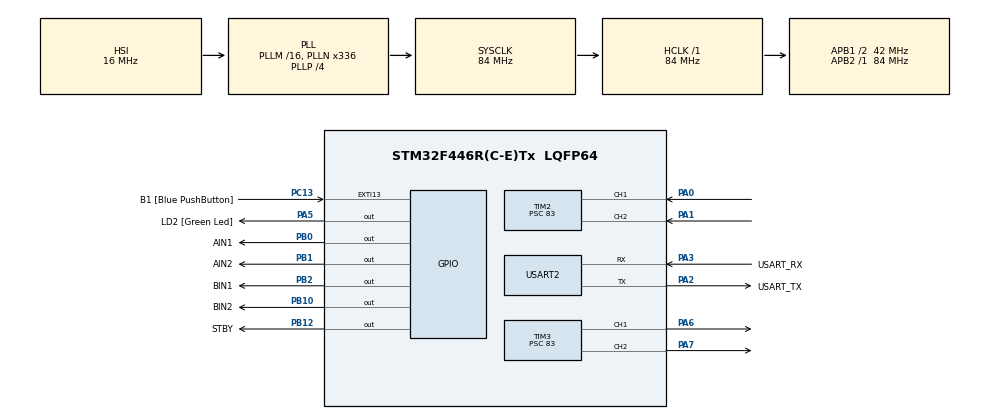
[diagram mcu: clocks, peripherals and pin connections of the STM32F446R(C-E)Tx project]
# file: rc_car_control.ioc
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Mcu.Family=STM32F4
Mcu.Name=STM32F446R(C-E)Tx
Mcu.Package=LQFP64
NVIC.PriorityGroup=NVIC_PRIORITYGROUP_0
NVIC.TIM2_IRQn=true\:0\:0\:false\:false\:true\:true\:true\:true
PA0-WKUP.Signal=S_TIM2_CH1_ETR
PA1.Signal=S_TIM2_CH2
PA13.GPIO_Label=TMS
PA13.Mode=Serial_Wire
PA13.Signal=SYS_JTMS-SWDIO
PA14.GPIO_Label=TCK
PA14.Mode=Serial_Wire
PA14.Signal=SYS_JTCK-SWCLK
PA2.GPIO_Label=USART_TX
PA2.Mode=Asynchronous
PA2.Signal=USART2_TX
PA3.GPIO_Label=USART_RX
PA3.Mode=Asynchronous
PA3.Signal=USART2_RX
PA5.GPIO_Label=LD2 [Green Led]
PA5.Signal=GPIO_Output
PA6.Signal=S_TIM3_CH1
PA7.Signal=S_TIM3_CH2
PB0.GPIO_Label=AIN1
PB0.Signal=GPIO_Output
PB1.GPIO_Label=AIN2
PB1.Signal=GPIO_Output
PB10.GPIO_Label=BIN2
PB10.Signal=GPIO_Output
PB12.GPIO_Label=STBY
PB12.Signal=GPIO_Output
PB2.GPIO_Label=BIN1
PB2.Signal=GPIO_Output
PB3.GPIO_Label=SWO
PB3.Signal=SYS_JTDO-SWO
PC13.GPIO_Label=B1 [Blue PushButton]
PC13.GPIO_ModeDefaultEXTI=GPIO_MODE_IT_FALLING
PC13.Signal=GPXTI13
PC14-OSC32_IN.Mode=LSE-External-Oscillator
PC14-OSC32_IN.Signal=RCC_OSC32_IN
PC15-OSC32_OUT.Mode=LSE-External-Oscillator
PC15-OSC32_OUT.Signal=RCC_OSC32_OUT
PH0-OSC_IN.Mode=HSE-External-Oscillator
PH0-OSC_IN.Signal=RCC_OSC_IN
PH1-OSC_OUT.Mode=HSE-External-Oscillator
PH1-OSC_OUT.Signal=RCC_OSC_OUT
ProjectManager.HeapSize=0x200
ProjectManager.StackSize=0x400
ProjectManager.TargetToolchain=STM32CubeIDE
RCC.48MHZClocksFreq_Value=84000000
RCC.AHBFreq_Value=84000000
RCC.APB1CLKDivider=RCC_HCLK_DIV2
RCC.APB1Freq_Value=42000000
RCC.APB1TimFreq_Value=84000000
RCC.APB2Freq_Value=84000000
RCC.APB2TimFreq_Value=84000000
RCC.CortexFreq_Value=84000000
RCC.FLatency-AdvancedSettings=FLASH_LATENCY_2
RCC.HCLKFreq_Value=84000000
RCC.HSE_VALUE=8000000
RCC.HSI_VALUE=16000000
RCC.PLLN=336
RCC.PLLP=RCC_PLLP_DIV4
RCC.SYSCLKFreq_VALUE=84000000
RCC.SYSCLKSource=RCC_SYSCLKSOURCE_PLLCLK
RCC.USBFreq_Value=168000000
RCC.VCOOutputFreq_Value=336000000
SH.S_TIM2_CH1_ETR.0=TIM2_CH1,Input_Capture1_from_TI1
SH.S_TIM2_CH2.0=TIM2_CH2,Input_Capture2_from_TI2
SH.S_TIM3_CH1.0=TIM3_CH1,PWM Generation1 CH1
SH.S_TIM3_CH2.0=TIM3_CH2,PWM Generation2 CH2
TIM2.Channel-Input_Capture1_from_TI1=TIM_CHANNEL_1
TIM2.Channel-Input_Capture2_from_TI2=TIM_CHANNEL_2
TIM2.Period=65535
TIM2.Prescaler=83
TIM3.Channel-PWM\ Generation1\ CH1=TIM_CHANNEL_1
TIM3.Channel-PWM\ Generation2\ CH2=TIM_CHANNEL_2
TIM3.Period=100
TIM3.Prescaler=83
USART2.VirtualMode=VM_ASYNC
VP_TIM2_VS_ClockSourceINT.Mode=Internal
VP_TIM3_VS_ClockSourceINT.Mode=Internal
board=NUCLEO-F446RE

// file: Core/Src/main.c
/* USER CODE BEGIN Header */
/**
  ******************************************************************************
  * @file           : main.c
  * @brief          : Main program body
  ******************************************************************************
  * @attention
  *
  * Copyright (c) 2026 STMicroelectronics.
  * All rights reserved.
  *
  * This software is licensed under terms that can be found in the LICENSE file
  * in the root directory of this software component.
  * If no LICENSE file comes with this software, it is provided AS-IS.
  *
  ******************************************************************************
  */
/* USER CODE END Header */
#include "main.h"

/* USER CODE BEGIN Includes */
#include <stdio.h>
#include <stdlib.h>
/* USER CODE END Includes */

TIM_HandleTypeDef htim2;
TIM_HandleTypeDef htim3;

UART_HandleTypeDef huart2;

/* USER CODE BEGIN PV */
volatile uint32_t ch1_rise = 0;
volatile uint32_t ch2_rise = 0;

volatile uint16_t ch1_us = 1500;   // steering
volatile uint16_t ch2_us = 1500;   // throttle

volatile uint8_t ch1_wait_falling = 0;
volatile uint8_t ch2_wait_falling = 0;
/* USER CODE END PV */

void SystemClock_Config(void);
static void MX_GPIO_Init(void);
static void MX_USART2_UART_Init(void);
static void MX_TIM2_Init(void);
static void MX_TIM3_Init(void);
/* USER CODE BEGIN PFP */
int __io_putchar(int ch);
int clamp_cmd(int x);
int map_pulse_to_cmd(uint16_t us);
void motor_left_set(int cmd);
void motor_right_set(int cmd);
/* USER CODE END PFP */

/* USER CODE BEGIN 0 */
int __io_putchar(int ch)
{
  HAL_UART_Transmit(&huart2, (uint8_t *)&ch, 1, HAL_MAX_DELAY);
  return ch;
}

int clamp_cmd(int x)
{
  if (x > 100) return 100;
  if (x < -100) return -100;
  return x;
}

int map_pulse_to_cmd(uint16_t us)
{
  int val = ((int)us - 1500) / 5;   // roughly -100 to +100

  if (abs(val) < 5) {
    val = 0;   // deadband
  }

  return clamp_cmd(val);
}

void motor_left_set(int cmd)
{
  int pwm = abs(cmd);
  if (pwm > 100) pwm = 100;

  if (cmd > 0) {
    HAL_GPIO_WritePin(AIN1_GPIO_Port, AIN1_Pin, GPIO_PIN_SET);
    HAL_GPIO_WritePin(AIN2_GPIO_Port, AIN2_Pin, GPIO_PIN_RESET);
  } else if (cmd < 0) {
    HAL_GPIO_WritePin(AIN1_GPIO_Port, AIN1_Pin, GPIO_PIN_RESET);
    HAL_GPIO_WritePin(AIN2_GPIO_Port, AIN2_Pin, GPIO_PIN_SET);
  } else {
    HAL_GPIO_WritePin(AIN1_GPIO_Port, AIN1_Pin, GPIO_PIN_RESET);
    HAL_GPIO_WritePin(AIN2_GPIO_Port, AIN2_Pin, GPIO_PIN_RESET);
  }

  __HAL_TIM_SET_COMPARE(&htim3, TIM_CHANNEL_1, pwm);
}

void motor_right_set(int cmd)
{
  int pwm = abs(cmd);
  if (pwm > 100) pwm = 100;

  if (cmd > 0) {
    HAL_GPIO_WritePin(BIN1_GPIO_Port, BIN1_Pin, GPIO_PIN_SET);
    HAL_GPIO_WritePin(BIN2_GPIO_Port, BIN2_Pin, GPIO_PIN_RESET);
  } else if (cmd < 0) {
    HAL_GPIO_WritePin(BIN1_GPIO_Port, BIN1_Pin, GPIO_PIN_RESET);
    HAL_GPIO_WritePin(BIN2_GPIO_Port, BIN2_Pin, GPIO_PIN_SET);
  } else {
    HAL_GPIO_WritePin(BIN1_GPIO_Port, BIN1_Pin, GPIO_PIN_RESET);
    HAL_GPIO_WritePin(BIN2_GPIO_Port, BIN2_Pin, GPIO_PIN_RESET);
  }

  __HAL_TIM_SET_COMPARE(&htim3, TIM_CHANNEL_2, pwm);
}
/* USER CODE END 0 */

int main(void)
{

  /* MCU Configuration--------------------------------------------------------*/

  /* Reset of all peripherals, Initializes the Flash interface and the Systick. */
  HAL_Init();

  /* Configure the system clock */
  SystemClock_Config();

  /* Initialize all configured peripherals */
  MX_GPIO_Init();
  MX_USART2_UART_Init();
  MX_TIM2_Init();
  MX_TIM3_Init();

  /* USER CODE BEGIN 2 */
  HAL_TIM_IC_Start_IT(&htim2, TIM_CHANNEL_1);
  HAL_TIM_IC_Start_IT(&htim2, TIM_CHANNEL_2);

  HAL_TIM_PWM_Start(&htim3, TIM_CHANNEL_1);
  HAL_TIM_PWM_Start(&htim3, TIM_CHANNEL_2);

  HAL_GPIO_WritePin(STBY_GPIO_Port, STBY_Pin, GPIO_PIN_SET);

  printf("RC car control started\r\n");
  /* USER CODE END 2 */

  /* Infinite loop */
  /* USER CODE BEGIN WHILE */
  while (1)
  {
    int steering = map_pulse_to_cmd(ch1_us);
    int throttle = map_pulse_to_cmd(ch2_us);

    // Uncomment either of these if directions feel reversed:
     steering = -steering;
     throttle = -throttle;

    int left_cmd  = clamp_cmd(throttle + steering);
    int right_cmd = clamp_cmd(throttle - steering);

    motor_left_set(left_cmd);
    motor_right_set(right_cmd);

    printf("CH1=%u CH2=%u L=%d R=%d\r\n", ch1_us, ch2_us, left_cmd, right_cmd);
    HAL_Delay(20);

    /* USER CODE END WHILE */

  }
}

void SystemClock_Config(void)
{
  RCC_OscInitTypeDef RCC_OscInitStruct = {0};
  RCC_ClkInitTypeDef RCC_ClkInitStruct = {0};

  /** Configure the main internal regulator output voltage
  */
  __HAL_RCC_PWR_CLK_ENABLE();
  __HAL_PWR_VOLTAGESCALING_CONFIG(PWR_REGULATOR_VOLTAGE_SCALE3);

  /** Initializes the RCC Oscillators according to the specified parameters
  * in the RCC_OscInitTypeDef structure.
  */
  RCC_OscInitStruct.OscillatorType = RCC_OSCILLATORTYPE_HSI;
  RCC_OscInitStruct.HSIState = RCC_HSI_ON;
  RCC_OscInitStruct.HSICalibrationValue = RCC_HSICALIBRATION_DEFAULT;
  RCC_OscInitStruct.PLL.PLLState = RCC_PLL_ON;
  RCC_OscInitStruct.PLL.PLLSource = RCC_PLLSOURCE_HSI;
  RCC_OscInitStruct.PLL.PLLM = 16;
  RCC_OscInitStruct.PLL.PLLN = 336;
  RCC_OscInitStruct.PLL.PLLP = RCC_PLLP_DIV4;
  RCC_OscInitStruct.PLL.PLLQ = 2;
  RCC_OscInitStruct.PLL.PLLR = 2;
  if (HAL_RCC_OscConfig(&RCC_OscInitStruct) != HAL_OK)
  {
    Error_Handler();
  }

  /** Initializes the CPU, AHB and APB buses clocks
  */
  RCC_ClkInitStruct.ClockType = RCC_CLOCKTYPE_HCLK|RCC_CLOCKTYPE_SYSCLK
                              |RCC_CLOCKTYPE_PCLK1|RCC_CLOCKTYPE_PCLK2;
  RCC_ClkInitStruct.SYSCLKSource = RCC_SYSCLKSOURCE_PLLCLK;
  RCC_ClkInitStruct.AHBCLKDivider = RCC_SYSCLK_DIV1;
  RCC_ClkInitStruct.APB1CLKDivider = RCC_HCLK_DIV2;
  RCC_ClkInitStruct.APB2CLKDivider = RCC_HCLK_DIV1;

  if (HAL_RCC_ClockConfig(&RCC_ClkInitStruct, FLASH_LATENCY_2) != HAL_OK)
  {
    Error_Handler();
  }
}

static void MX_TIM2_Init(void)
{

  TIM_ClockConfigTypeDef sClockSourceConfig = {0};
  TIM_MasterConfigTypeDef sMasterConfig = {0};
  TIM_IC_InitTypeDef sConfigIC = {0};

  htim2.Instance = TIM2;
  htim2.Init.Prescaler = 83;
  htim2.Init.CounterMode = TIM_COUNTERMODE_UP;
  htim2.Init.Period = 65535;
  htim2.Init.ClockDivision = TIM_CLOCKDIVISION_DIV1;
  htim2.Init.AutoReloadPreload = TIM_AUTORELOAD_PRELOAD_DISABLE;
  if (HAL_TIM_Base_Init(&htim2) != HAL_OK)
  {
    Error_Handler();
  }
  sClockSourceConfig.ClockSource = TIM_CLOCKSOURCE_INTERNAL;
  if (HAL_TIM_ConfigClockSource(&htim2, &sClockSourceConfig) != HAL_OK)
  {
    Error_Handler();
  }
  if (HAL_TIM_IC_Init(&htim2) != HAL_OK)
  {
    Error_Handler();
  }
  sMasterConfig.MasterOutputTrigger = TIM_TRGO_RESET;
  sMasterConfig.MasterSlaveMode = TIM_MASTERSLAVEMODE_DISABLE;
  if (HAL_TIMEx_MasterConfigSynchronization(&htim2, &sMasterConfig) != HAL_OK)
  {
    Error_Handler();
  }
  sConfigIC.ICPolarity = TIM_INPUTCHANNELPOLARITY_RISING;
  sConfigIC.ICSelection = TIM_ICSELECTION_DIRECTTI;
  sConfigIC.ICPrescaler = TIM_ICPSC_DIV1;
  sConfigIC.ICFilter = 0;
  if (HAL_TIM_IC_ConfigChannel(&htim2, &sConfigIC, TIM_CHANNEL_1) != HAL_OK)
  {
    Error_Handler();
  }
  if (HAL_TIM_IC_ConfigChannel(&htim2, &sConfigIC, TIM_CHANNEL_2) != HAL_OK)
  {
    Error_Handler();
  }

}

static void MX_TIM3_Init(void)
{

  TIM_ClockConfigTypeDef sClockSourceConfig = {0};
  TIM_MasterConfigTypeDef sMasterConfig = {0};
  TIM_OC_InitTypeDef sConfigOC = {0};

  htim3.Instance = TIM3;
  htim3.Init.Prescaler = 83;
  htim3.Init.CounterMode = TIM_COUNTERMODE_UP;
  htim3.Init.Period = 100;
  htim3.Init.ClockDivision = TIM_CLOCKDIVISION_DIV1;
  htim3.Init.AutoReloadPreload = TIM_AUTORELOAD_PRELOAD_DISABLE;
  if (HAL_TIM_Base_Init(&htim3) != HAL_OK)
  {
    Error_Handler();
  }
  sClockSourceConfig.ClockSource = TIM_CLOCKSOURCE_INTERNAL;
  if (HAL_TIM_ConfigClockSource(&htim3, &sClockSourceConfig) != HAL_OK)
  {
    Error_Handler();
  }
  if (HAL_TIM_PWM_Init(&htim3) != HAL_OK)
  {
    Error_Handler();
  }
  sMasterConfig.MasterOutputTrigger = TIM_TRGO_RESET;
  sMasterConfig.MasterSlaveMode = TIM_MASTERSLAVEMODE_DISABLE;
  if (HAL_TIMEx_MasterConfigSynchronization(&htim3, &sMasterConfig) != HAL_OK)
  {
    Error_Handler();
  }
  sConfigOC.OCMode = TIM_OCMODE_PWM1;
  sConfigOC.Pulse = 0;
  sConfigOC.OCPolarity = TIM_OCPOLARITY_HIGH;
  sConfigOC.OCFastMode = TIM_OCFAST_DISABLE;
  if (HAL_TIM_PWM_ConfigChannel(&htim3, &sConfigOC, TIM_CHANNEL_1) != HAL_OK)
  {
    Error_Handler();
  }
  if (HAL_TIM_PWM_ConfigChannel(&htim3, &sConfigOC, TIM_CHANNEL_2) != HAL_OK)
  {
    Error_Handler();
  }
  HAL_TIM_MspPostInit(&htim3);

}

static void MX_USART2_UART_Init(void)
{

  huart2.Instance = USART2;
  huart2.Init.BaudRate = 115200;
  huart2.Init.WordLength = UART_WORDLENGTH_8B;
  huart2.Init.StopBits = UART_STOPBITS_1;
  huart2.Init.Parity = UART_PARITY_NONE;
  huart2.Init.Mode = UART_MODE_TX_RX;
  huart2.Init.HwFlowCtl = UART_HWCONTROL_NONE;
  huart2.Init.OverSampling = UART_OVERSAMPLING_16;
  if (HAL_UART_Init(&huart2) != HAL_OK)
  {
    Error_Handler();
  }

}

static void MX_GPIO_Init(void)
{
  GPIO_InitTypeDef GPIO_InitStruct = {0};

  /* GPIO Ports Clock Enable */
  __HAL_RCC_GPIOC_CLK_ENABLE();
  __HAL_RCC_GPIOH_CLK_ENABLE();
  __HAL_RCC_GPIOA_CLK_ENABLE();
  __HAL_RCC_GPIOB_CLK_ENABLE();

  /*Configure GPIO pin Output Level */
  HAL_GPIO_WritePin(LD2_GPIO_Port, LD2_Pin, GPIO_PIN_RESET);

  /*Configure GPIO pin Output Level */
  HAL_GPIO_WritePin(GPIOB, AIN1_Pin|AIN2_Pin|BIN1_Pin|BIN2_Pin
                          |STBY_Pin, GPIO_PIN_RESET);

  /*Configure GPIO pin : B1_Pin */
  GPIO_InitStruct.Pin = B1_Pin;
  GPIO_InitStruct.Mode = GPIO_MODE_IT_FALLING;
  GPIO_InitStruct.Pull = GPIO_NOPULL;
  HAL_GPIO_Init(B1_GPIO_Port, &GPIO_InitStruct);

  /*Configure GPIO pin : LD2_Pin */
  GPIO_InitStruct.Pin = LD2_Pin;
  GPIO_InitStruct.Mode = GPIO_MODE_OUTPUT_PP;
  GPIO_InitStruct.Pull = GPIO_NOPULL;
  GPIO_InitStruct.Speed = GPIO_SPEED_FREQ_LOW;
  HAL_GPIO_Init(LD2_GPIO_Port, &GPIO_InitStruct);

  /*Configure GPIO pins : AIN1_Pin AIN2_Pin BIN1_Pin BIN2_Pin
                           STBY_Pin */
  GPIO_InitStruct.Pin = AIN1_Pin|AIN2_Pin|BIN1_Pin|BIN2_Pin
                          |STBY_Pin;
  GPIO_InitStruct.Mode = GPIO_MODE_OUTPUT_PP;
  GPIO_InitStruct.Pull = GPIO_NOPULL;
  GPIO_InitStruct.Speed = GPIO_SPEED_FREQ_LOW;
  HAL_GPIO_Init(GPIOB, &GPIO_InitStruct);

}

/* USER CODE BEGIN 4 */
void HAL_TIM_IC_CaptureCallback(TIM_HandleTypeDef *htim)
{
  if (htim->Instance == TIM2)
  {
    if (htim->Channel == HAL_TIM_ACTIVE_CHANNEL_1)
    {
      uint32_t capture = HAL_TIM_ReadCapturedValue(htim, TIM_CHANNEL_1);

      if (ch1_wait_falling == 0)
      {
        ch1_rise = capture;
        ch1_wait_falling = 1;
        __HAL_TIM_SET_CAPTUREPOLARITY(htim, TIM_CHANNEL_1, TIM_INPUTCHANNELPOLARITY_FALLING);
      }
      else
      {
        if (capture >= ch1_rise)
        {
          ch1_us = (uint16_t)(capture - ch1_rise);
        }
        else
        {
          ch1_us = (uint16_t)((65535 - ch1_rise + 1) + capture);
        }

        ch1_wait_falling = 0;
        __HAL_TIM_SET_CAPTUREPOLARITY(htim, TIM_CHANNEL_1, TIM_INPUTCHANNELPOLARITY_RISING);
      }
    }

    if (htim->Channel == HAL_TIM_ACTIVE_CHANNEL_2)
    {
      uint32_t capture = HAL_TIM_ReadCapturedValue(htim, TIM_CHANNEL_2);

      if (ch2_wait_falling == 0)
      {
        ch2_rise = capture;
        ch2_wait_falling = 1;
        __HAL_TIM_SET_CAPTUREPOLARITY(htim, TIM_CHANNEL_2, TIM_INPUTCHANNELPOLARITY_FALLING);
      }
      else
      {
        if (capture >= ch2_rise)
        {
          ch2_us = (uint16_t)(capture - ch2_rise);
        }
        else
        {
          ch2_us = (uint16_t)((65535 - ch2_rise + 1) + capture);
        }

        ch2_wait_falling = 0;
        __HAL_TIM_SET_CAPTUREPOLARITY(htim, TIM_CHANNEL_2, TIM_INPUTCHANNELPOLARITY_RISING);
      }
    }
  }
}
/* USER CODE END 4 */

void Error_Handler(void)
{
  __disable_irq();
  while (1)
  {
  }
}
